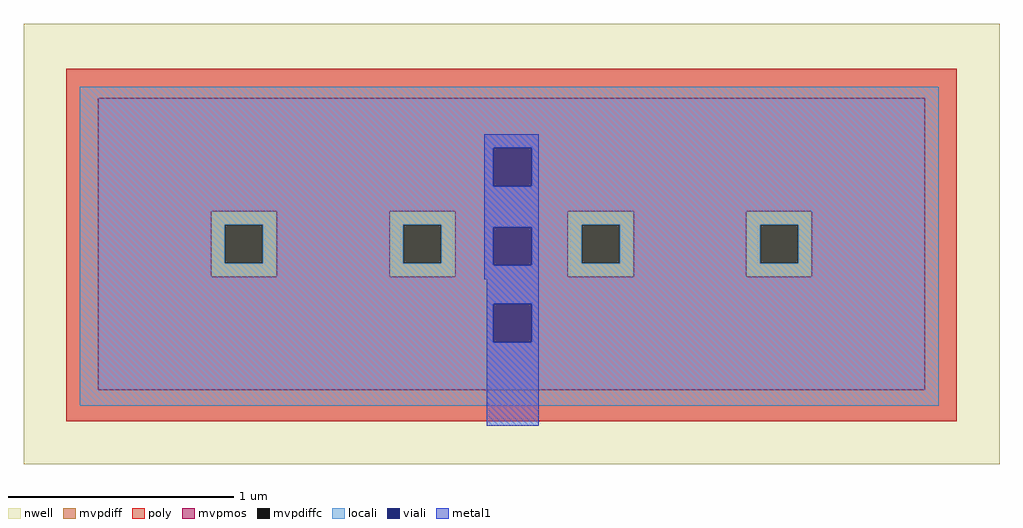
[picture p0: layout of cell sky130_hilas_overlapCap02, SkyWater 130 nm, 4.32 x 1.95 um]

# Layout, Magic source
magic
tech sky130A
<< nwell >>
rect 0 0 432 195
<< mvpmos >>
rect 33 112 399 162
rect 33 83 83 112
rect 112 83 162 112
rect 191 83 241 112
rect 270 83 320 112
rect 349 83 399 112
rect 33 33 399 83
<< mvpdiff >>
rect 83 106 112 112
rect 83 89 89 106
rect 106 89 112 106
rect 83 83 112 89
rect 162 106 191 112
rect 162 89 168 106
rect 185 89 191 106
rect 162 83 191 89
rect 241 106 270 112
rect 241 89 247 106
rect 264 89 270 106
rect 241 83 270 89
rect 320 106 349 112
rect 320 89 326 106
rect 343 89 349 106
rect 320 83 349 89
<< mvpdiffc >>
rect 89 89 106 106
rect 168 89 185 106
rect 247 89 264 106
rect 326 89 343 106
<< poly >>
rect 19 162 413 175
rect 19 33 33 162
rect 399 33 413 162
rect 19 19 413 33
<< locali >>
rect 25 140 405 167
rect 25 123 208 140
rect 225 123 405 140
rect 25 106 405 123
rect 25 89 89 106
rect 106 89 168 106
rect 185 105 247 106
rect 185 89 208 105
rect 25 88 208 89
rect 225 89 247 105
rect 264 89 326 106
rect 343 89 405 106
rect 225 88 405 89
rect 25 71 405 88
rect 25 54 208 71
rect 225 54 405 71
rect 25 26 405 54
<< viali >>
rect 208 123 225 140
rect 208 88 225 105
rect 208 54 225 71
<< metal1 >>
rect 204 140 228 146
rect 204 123 208 140
rect 225 123 228 140
rect 204 105 228 123
rect 204 88 208 105
rect 225 88 228 105
rect 204 82 228 88
rect 205 71 228 82
rect 205 54 208 71
rect 225 54 228 71
rect 205 17 228 54
<< properties >>
string LEFsite unithd
string LEFclass CORE
string LEFsymmetry X Y R90
<< end >>
